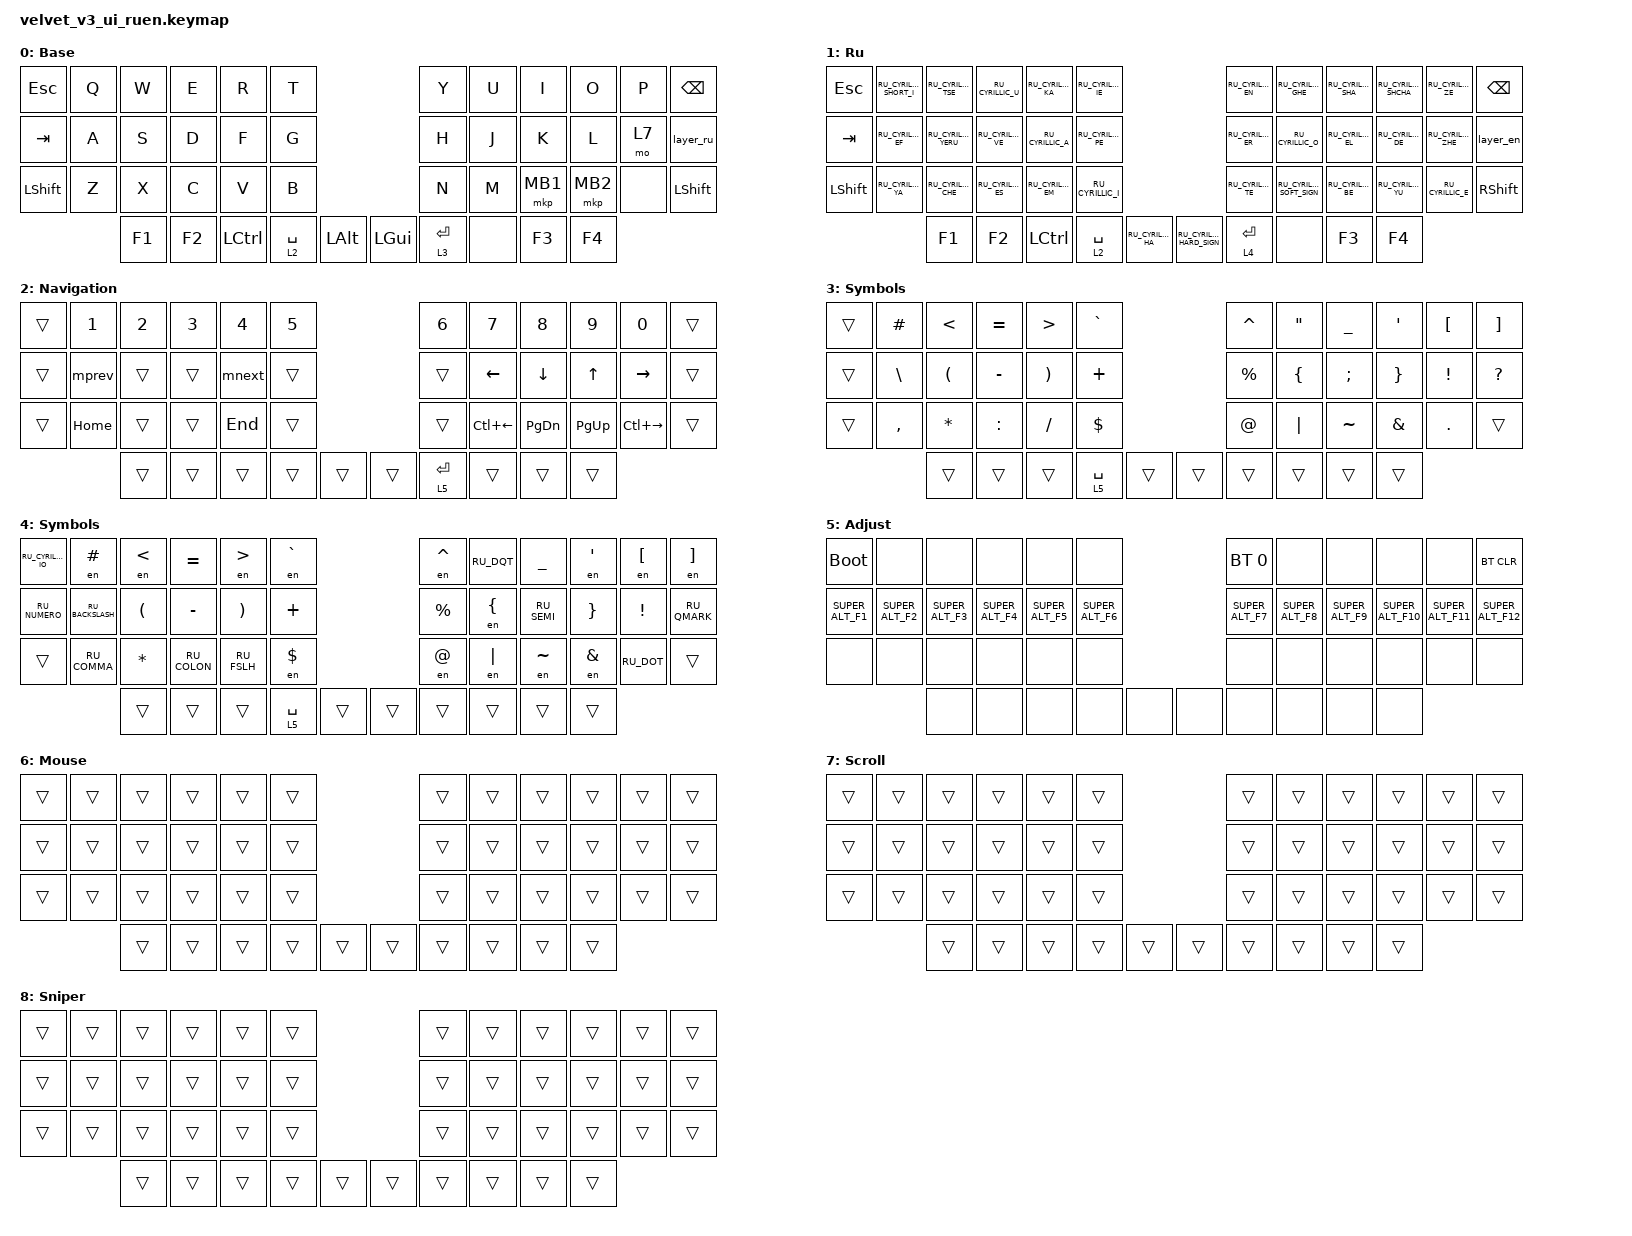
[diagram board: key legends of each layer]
#include "keys_ru.h"
#include <dt-bindings/zmk/input_transform.h>
#include <input/processors.dtsi>
#include <zephyr/dt-bindings/input/input-event-codes.h>
#include <behaviors.dtsi>
#include <dt-bindings/zmk/bt.h>
#include <dt-bindings/zmk/keys.h>
#include <dt-bindings/zmk/pointing.h>

/ {
    combos { compatible = "zmk,combos"; };

    macros {
        to_ru: to_ru {
            compatible = "zmk,behavior-macro";
            #binding-cells = <0>;
            bindings = <&kp LS(LC(AT_SIGN))>;
            label = "TO_RU";
            wait-ms = <0>;
            tap-ms = <30>;
        };

        to_en: to_en {
            compatible = "zmk,behavior-macro";
            #binding-cells = <0>;
            bindings = <&kp LC(LS(AT_SIGN))>;
            label = "TO_EN";
            wait-ms = <0>;
            tap-ms = <30>;
        };

        layer_en: layer_en {
            compatible = "zmk,behavior-macro";
            #binding-cells = <0>;
            bindings = <&to 0 &to_en>;
            label = "LAYER_EN";
            wait-ms = <0>;
            tap-ms = <30>;
        };

        layer_ru: layer_ru {
            compatible = "zmk,behavior-macro";
            #binding-cells = <0>;
            bindings = <&to 1 &to_ru>;
            label = "LAYER_RU";
            tap-ms = <30>;
            wait-ms = <0>;
        };

        en: en {
            compatible = "zmk,behavior-macro-one-param";
            #binding-cells = <1>;
            bindings =
                <&to_en>,
                <&macro_press>,
                <&macro_param_1to1 &kp MACRO_PLACEHOLDER>,
                <&macro_pause_for_release>,
                <&macro_release>,
                <&macro_param_1to1 &kp MACRO_PLACEHOLDER>,
                <&macro_tap>,
                <&to_ru>;

            label = "EN";
            wait-ms = <0>;
            tap-ms = <30>;
        };

        mprev: s1 {
            compatible = "zmk,behavior-macro";
            #binding-cells = <0>;
            bindings = <&mkp MB4>;
            label = "S1";
        };

        mnext: s2 {
            compatible = "zmk,behavior-macro";
            #binding-cells = <0>;
            bindings = <&mkp MB5>;
            label = "S2";
        };

        SUPER_ALT_F1: CNTRL_ALT_F1 {
            compatible = "zmk,behavior-macro";
            #binding-cells = <0>;
            bindings = <&kp LG(LA(F1))>;
            label = "CNTRL_ALT_F1";
        };

        SUPER_ALT_F2: SUPER_ALT_F2 {
            compatible = "zmk,behavior-macro";
            #binding-cells = <0>;
            bindings = <&kp LG(LA(F2))>;
            label = "SUPER_ALT_F2";
        };

        SUPER_ALT_F3: CNTRL_ALT_F3 {
            compatible = "zmk,behavior-macro";
            #binding-cells = <0>;
            bindings = <&kp LG(LA(F3))>;
            label = "CNTRL_ALT_F3";
        };

        SUPER_ALT_F4: SUPER_ALT_F4 {
            compatible = "zmk,behavior-macro";
            #binding-cells = <0>;
            bindings = <&kp LG(LA(F4))>;
            label = "SUPER_ALT_F4";
        };

        SUPER_ALT_F5: SUPER_ALT_F5 {
            compatible = "zmk,behavior-macro";
            #binding-cells = <0>;
            bindings = <&kp LG(LA(F5))>;
            label = "SUPER_ALT_F5";
        };

        SUPER_ALT_F6: SUPER_ALT_F6 {
            compatible = "zmk,behavior-macro";
            #binding-cells = <0>;
            bindings = <&kp LG(LA(F6))>;
            label = "SUPER_ALT_F6";
        };

        SUPER_ALT_F7: SUPER_ALT_F7 {
            compatible = "zmk,behavior-macro";
            #binding-cells = <0>;
            bindings = <&kp LG(LA(F7))>;
            label = "SUPER_ALT_F7";
        };

        SUPER_ALT_F8: SUPER_ALT_F8 {
            compatible = "zmk,behavior-macro";
            #binding-cells = <0>;
            bindings = <&kp LG(LA(F8))>;
            label = "SUPER_ALT_F8";
        };

        SUPER_ALT_F9: SUPER_ALT_F9 {
            compatible = "zmk,behavior-macro";
            #binding-cells = <0>;
            bindings = <&kp LG(LA(F9))>;
            label = "SUPER_ALT_F9";
        };

        SUPER_ALT_F10: SUPER_ALT_F10 {
            compatible = "zmk,behavior-macro";
            #binding-cells = <0>;
            bindings = <&kp LG(LA(F10))>;
            label = "SUPER_ALT_F10";
        };

        SUPER_ALT_F11: SUPER_ALT_F11 {
            compatible = "zmk,behavior-macro";
            #binding-cells = <0>;
            bindings = <&kp LG(LA(F11))>;
            label = "SUPER_ALT_F11";
        };

        SUPER_ALT_F12: SUPER_ALT_F12 {
            compatible = "zmk,behavior-macro";
            #binding-cells = <0>;
            bindings = <&kp LG(LA(F12))>;
            label = "SUPER_ALT_F12";
        };
    };

    behaviors {
        my_lt: my_lt {
            compatible = "zmk,behavior-hold-tap";
            label = "MY_LT";
            bindings = <&mo>, <&kp>;

            #binding-cells = <2>;
            tapping-term-ms = <150>;
        };
    };

    keymap {
        compatible = "zmk,keymap";

        en {
            bindings = <
&kp ESC    &kp Q  &kp W   &kp E   &kp R      &kp T                                         &kp Y           &kp U  &kp I     &kp O     &kp P  &kp BSPC
&kp TAB    &kp A  &kp S   &kp D   &kp F      &kp G                                         &kp H           &kp J  &kp K     &kp L     &mo 7  &layer_ru
&kp LSHFT  &kp Z  &kp X   &kp C   &kp V      &kp B                                         &kp N           &kp M  &mkp MB1  &mkp MB2  &none  &kp LEFT_SHIFT
                  &kp F1  &kp F2  &kp LCTRL  &my_lt 2 SPACE  &kp LEFT_ALT    &kp LEFT_GUI  &my_lt 3 ENTER  &none  &kp F3    &kp F4
            >;

            display-name = "Base";
        };

        ru {
            display-name = "Ru";
            bindings = <
&kp ESC    &kp RU_CYRILLIC_SHORT_I  &kp RU_CYRILLIC_TSE   &kp RU_CYRILLIC_U   &kp RU_CYRILLIC_KA  &kp RU_CYRILLIC_IE                                                   &kp RU_CYRILLIC_EN  &kp RU_CYRILLIC_GHE        &kp RU_CYRILLIC_SHA  &kp RU_CYRILLIC_SHCHA  &kp RU_CYRILLIC_ZE   &kp BSPC
&kp TAB    &kp RU_CYRILLIC_EF       &kp RU_CYRILLIC_YERU  &kp RU_CYRILLIC_VE  &kp RU_CYRILLIC_A   &kp RU_CYRILLIC_PE                                                   &kp RU_CYRILLIC_ER  &kp RU_CYRILLIC_O          &kp RU_CYRILLIC_EL   &kp RU_CYRILLIC_DE     &kp RU_CYRILLIC_ZHE  &layer_en
&kp LSHFT  &kp RU_CYRILLIC_YA       &kp RU_CYRILLIC_CHE   &kp RU_CYRILLIC_ES  &kp RU_CYRILLIC_EM  &kp RU_CYRILLIC_I                                                    &kp RU_CYRILLIC_TE  &kp RU_CYRILLIC_SOFT_SIGN  &kp RU_CYRILLIC_BE   &kp RU_CYRILLIC_YU     &kp RU_CYRILLIC_E    &kp RSHFT
                                    &kp F1                &kp F2              &kp LCTRL           &my_lt 2 SPACE      &kp RU_CYRILLIC_HA    &kp RU_CYRILLIC_HARD_SIGN  &my_lt 4 ENTER      &none                      &kp F3               &kp F4
            >;
        };

        nav {
            bindings = <
&trans  &kp N1    &kp N2  &kp N3  &kp N4   &kp N5                    &kp N6          &kp N7        &kp N8         &kp N9       &kp N0         &trans
&trans  &mprev    &trans  &trans  &mnext   &trans                    &trans          &kp LEFT      &kp DOWN       &kp UP       &kp RIGHT      &trans
&trans  &kp HOME  &trans  &trans  &kp END  &trans                    &trans          &kp LC(LEFT)  &kp PAGE_DOWN  &kp PAGE_UP  &kp LC(RIGHT)  &trans
                  &trans  &trans  &trans   &trans  &trans    &trans  &my_lt 5 ENTER  &trans        &trans         &trans
            >;

            display-name = "Navigation";
        };

        sym_en {
            bindings = <
&trans  &kp HASH   &kp LT    &kp EQUAL  &kp GT    &kp GRAVE                         &kp CARET  &kp DQT   &kp UNDER  &kp SQT   &kp LEFT_BRACKET  &kp RIGHT_BRACKET
&trans  &kp BSLH   &kp LPAR  &kp MINUS  &kp RPAR  &kp PLUS                          &kp PRCNT  &kp LBRC  &kp SEMI   &kp RBRC  &kp EXCL          &kp QUESTION
&trans  &kp COMMA  &kp STAR  &kp COLON  &kp FSLH  &kp DLLR                          &kp AT     &kp PIPE  &kp TILDE  &kp AMPS  &kp DOT           &trans
                   &trans    &trans     &trans    &my_lt 5 SPACE  &trans    &trans  &trans     &trans    &trans     &trans
            >;

            display-name = "Symbols";
        };

        sym_ru {
            display-name = "Symbols";
            bindings = <
&kp RU_CYRILLIC_IO  &en HASH          &en LT    &kp EQUAL     &en GT       &en GRAVE                         &en CARET  &kp RU_DQT  &kp UNDER    &en SQT   &en LEFT_BRACKET  &en RIGHT_BRACKET
&kp RU_NUMERO       &kp RU_BACKSLASH  &kp LPAR  &kp MINUS     &kp RPAR     &kp PLUS                          &kp PRCNT  &en LBRC    &kp RU_SEMI  &kp RBRC  &kp EXCL          &kp RU_QMARK
&trans              &kp RU_COMMA      &kp STAR  &kp RU_COLON  &kp RU_FSLH  &en DLLR                          &en AT     &en PIPE    &en TILDE    &en AMPS  &kp RU_DOT        &trans
                                      &trans    &trans        &trans       &my_lt 5 SPACE  &trans    &trans  &trans     &trans      &trans       &trans
            >;
        };

        adj {
            bindings = <
&bootloader    &none          &none          &none          &none          &none                          &bt BT_SEL 0   &none          &none          &none           &none           &bt BT_CLR
&SUPER_ALT_F1  &SUPER_ALT_F2  &SUPER_ALT_F3  &SUPER_ALT_F4  &SUPER_ALT_F5  &SUPER_ALT_F6                  &SUPER_ALT_F7  &SUPER_ALT_F8  &SUPER_ALT_F9  &SUPER_ALT_F10  &SUPER_ALT_F11  &SUPER_ALT_F12
&none          &none          &none          &none          &none          &none                          &none          &none          &none          &none           &none           &none
                              &none          &none          &none          &none          &none    &none  &none          &none          &none          &none
            >;

            display-name = "Adjust";
        };

        mouse {
            bindings = <
&trans  &trans  &trans  &trans  &trans  &trans                    &trans  &trans  &trans  &trans  &trans  &trans
&trans  &trans  &trans  &trans  &trans  &trans                    &trans  &trans  &trans  &trans  &trans  &trans
&trans  &trans  &trans  &trans  &trans  &trans                    &trans  &trans  &trans  &trans  &trans  &trans
                &trans  &trans  &trans  &trans  &trans    &trans  &trans  &trans  &trans  &trans
            >;

            display-name = "Mouse";
        };

        scroll {
            bindings = <
&trans  &trans  &trans  &trans  &trans  &trans                    &trans  &trans  &trans  &trans  &trans  &trans
&trans  &trans  &trans  &trans  &trans  &trans                    &trans  &trans  &trans  &trans  &trans  &trans
&trans  &trans  &trans  &trans  &trans  &trans                    &trans  &trans  &trans  &trans  &trans  &trans
                &trans  &trans  &trans  &trans  &trans    &trans  &trans  &trans  &trans  &trans
            >;

            display-name = "Scroll";
        };

        sniper {
            bindings = <
&trans  &trans  &trans  &trans  &trans  &trans                    &trans  &trans  &trans  &trans  &trans  &trans
&trans  &trans  &trans  &trans  &trans  &trans                    &trans  &trans  &trans  &trans  &trans  &trans
&trans  &trans  &trans  &trans  &trans  &trans                    &trans  &trans  &trans  &trans  &trans  &trans
                &trans  &trans  &trans  &trans  &trans    &trans  &trans  &trans  &trans  &trans
            >;

            display-name = "Sniper";
        };
    };
};

&trackball { cpi = <600>; };

&trackball_listener {
    input-processors = <&zip_xy_scaler 9 20>;

    scroller {
        layers = <7>;
        input-processors =
            <&zip_xy_transform INPUT_TRANSFORM_Y_INVERT>,
            <&zip_xy_scaler 1 32>,
            <&zip_xy_to_scroll_mapper>;
    };

    sniper {
        layers = <8>;
        input-processors = <&zip_xy_scaler 1 4>;
    };
};
